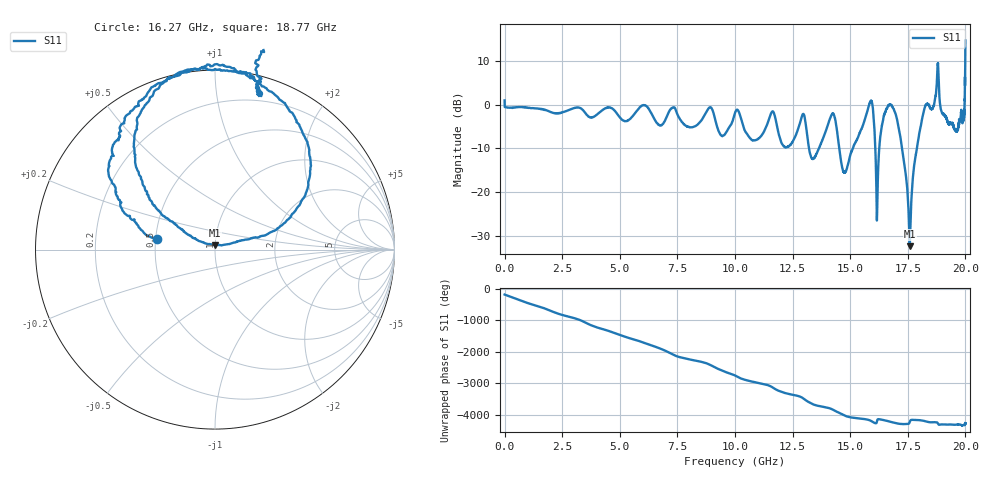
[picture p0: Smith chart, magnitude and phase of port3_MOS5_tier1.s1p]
! Created with skrf 1.8.0 (http://scikit-rf.org).
# GHz S RI R 50.0
!freq ReS11 ImS11
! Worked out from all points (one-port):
!   10001 points, 1 MHz to 20 GHz, reference 50 ohm
!   lowest |S11| = -32.4 dB at 17.59 GHz (marker M1), VSWR 1.05, Z = 50 + j2.39 ohm
!   |S11| at or under -10 dB: 13.21 GHz to 13.64 GHz (428.6 MHz wide, 3.19 % of centre); 14.53 GHz to 15.11 GHz (585.3 MHz wide, 3.95 % of centre); 17.25 GHz to 17.89 GHz (640.9 MHz wide, 3.65 % of centre) (the widest 3 of 4)
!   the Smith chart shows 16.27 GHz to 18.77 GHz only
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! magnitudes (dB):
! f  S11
! 1 MHz  1.0
! 2.501 GHz  -1.7
! 5.001 GHz  -2.9
! 7.501 GHz  -2.2
! 8.941 GHz  -0.6
! 9.461 GHz  -7.2
! 10 GHz  -1.8
! 10.83 GHz  -8.2
! 11.64 GHz  -1.5
! 12.08 GHz  -9.3
! 12.5 GHz  -8.5
! 12.96 GHz  -2.1
! 13.42 GHz  -12.3
! 14.24 GHz  -2.0
! 14.7 GHz  -15.3
! 15 GHz  -11.6
! 15.89 GHz  0.9
! 16.19 GHz  -19.9
! 16.41 GHz  -3.8
! 16.78 GHz  -0.1
! 17.16 GHz  -6.7
! 17.5 GHz  -20.9
! 17.59 GHz  -32.4
! 18.25 GHz  -0.4
! 18.79 GHz  8.4
! 19.61 GHz  -5.9
! 19.88 GHz  -3.4
! 20 GHz  14.8
